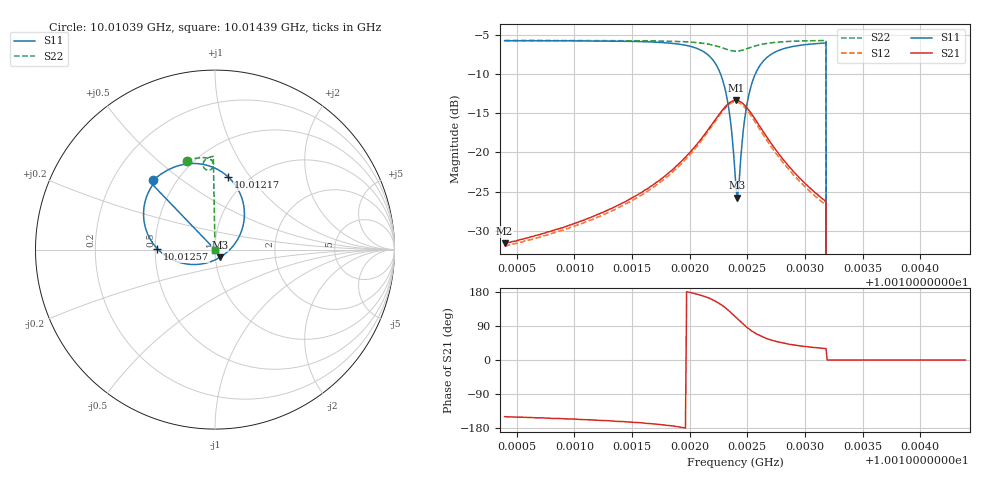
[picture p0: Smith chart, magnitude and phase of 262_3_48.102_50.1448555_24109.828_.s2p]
#  HZ  S  RI  R  50.00
! Rohde & Schwarz Vector Network Analyzer
! Rohde-Schwarz,ZNB20-2Port,1311601062101988,3.16
! Created: UTC 12/23/2023, 4:00:52 AM
! freq[Hz]  re:S11  im:S11  re:S21  im:S21  re:S12  im:S12  re:S22  im:S22
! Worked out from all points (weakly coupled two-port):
!   401 points, 10.01039 GHz to 10.01439 GHz, reference 50 ohm
!   highest |S21| = -13.34 dB at 10.0124 GHz (marker M1); lowest = -31.6 dB at 10.01039 GHz (marker M2)
!   lowest |S11| = -25.8 dB at 10.01241 GHz (marker M3), VSWR 1.11, Z = 52.6 - j4.6 ohm
!   |S11| at or under -10 dB: 10.01227 GHz to 10.01257 GHz (300.8 kHz wide, 0.003 % of centre); 10.01318 GHz to end of sweep
!   |S22| runs from - to -5.7 dB; largest |S21 - S12| = 0.01
!   S11 on the Smith chart (normalised r, x): 10.01039 GHz: 0.37, +0.40; 10.01217 GHz: 0.81, +0.79; 10.01257 GHz: 0.51, +0.01; 10.01439 GHz: 1.00, +0.00
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1.0010394e10  -0.3435 0.3869  -0.0226 -0.0133  -0.021 -0.0139  -0.1575 0.4948
1.0011064e10  -0.2869 0.4297  -0.0336 -0.0141  -0.0316 -0.0153  -0.113 0.507
1.0011734e10  -0.1733 0.4749  -0.0651 -0.0115  -0.062 -0.0145  -0.0608 0.5126
1.0012023e10  -0.047 0.4705  -0.1039 0.00557  -0.101 7.84e-05  -0.0306 0.5058
1.0012173e10  0.0733 0.4048  -0.1377 0.0431  -0.1364 0.0347  -0.0129 0.4904
1.0012253e10  0.1432 0.304  -0.1507 0.0878  -0.1521 0.0775  -0.00758 0.4738
1.0012313e10  0.1634 0.1798  -0.1446 0.1347  -0.1472 0.1263  -0.0113 0.4578
1.0012353e10  0.1384 0.0806  -0.124 0.1691  -0.1291 0.1601  -0.0196 0.4484
1.0012393e10  0.0725 -0.0096  -0.09 0.1954  -0.0956 0.1878  -0.0321 0.4429
1.0012403e10  0.0509 -0.0275  -0.0803 0.1997  -0.0851 0.1926  -0.0356 0.4426
1.0012413e10  0.0271 -0.0436  -0.0699 0.203  -0.0747 0.1962  -0.0392 0.4427
1.0012433e10  -0.0238 -0.0673  -0.0491 0.2066  -0.0538 0.1997  -0.0459 0.444
1.0012463e10  -0.1057 -0.083  -0.0174 0.2042  -0.0228 0.198  -0.0547 0.4487
1.0012493e10  -0.1817 -0.0756  0.0107 0.1941  0.00472 0.1883  -0.0612 0.4555
1.0012533e10  -0.2629 -0.0423  0.0379 0.174  0.0311 0.1688  -0.0657 0.466
1.0012573e10  -0.3209 0.00453  0.0547 0.1516  0.0481 0.1469  -0.0664 0.4761
1.0012733e10  -0.3973 0.1771  0.0683 0.0828  0.0619 0.0814  -0.053 0.5017
1.0013063e10  -0.3637 0.3338  0.048 0.0317  0.0442 0.0323  -0.0198 0.5175
1.0013163e10  -0.3497 0.357  0.043 0.0254  0.0396 0.026  -0.0111 0.5192
1.0013213e10  0 0  0 0  0 0  0 0
1.0013733e10  0 0  0 0  0 0  0 0
1.0014393e10  0 0  0 0  0 0  0 0
